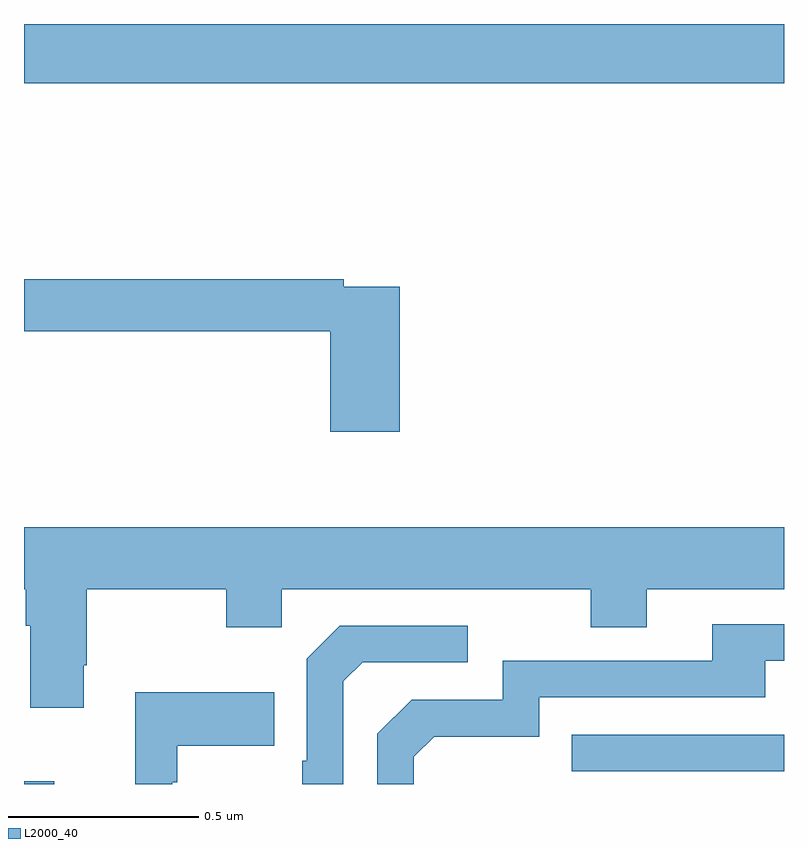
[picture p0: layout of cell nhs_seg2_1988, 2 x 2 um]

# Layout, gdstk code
import gdstk
lib = gdstk.Library(unit=1e-6, precision=1e-09)
def R(c, l, rs):  # rectangles x0, y0, x1, y1
    for r in rs: c.add(gdstk.rectangle(r[:2], r[2:], *l))
def P(c, l, *ps):  # polygons
    for p in ps: c.add(gdstk.Polygon(p, *l))
L2000_40 = (2000, 40)

nhs_seg2_1988 = lib.new_cell('nhs_seg2_1988')
R(nhs_seg2_1988, L2000_40, [(135,637.8,135.079,637.807), (136.441,637.833,137,637.929), (135,639.644,137,639.8)])
P(nhs_seg2_1988, L2000_40, [(135.989,639.108),(135.842,639.108),(135.842,639.128),(135,639.128),(135,638.992),(135.806,638.992),(135.806,638.727),(135.989,638.727)],
  [(135.157,638.113),(135.165,638.113),(135.165,638.312),(135.532,638.312),(135.532,638.213),(135.678,638.213),(135.678,638.312),(136.492,638.312),(136.492,638.213),(136.639,638.213),(136.639,638.312),(137,638.312),(137,638.476),(135,638.476),(135,638.312),(135.005,638.312),(135.005,638.216),(135.017,638.216),(135.017,638.001),(135.157,638.001)],
  [(136.026,637.872),(136.079,637.925),(136.356,637.925),(136.356,638.028),(136.951,638.028),(136.951,638.124),(137,638.124),(137,638.22),(136.811,638.22),(136.811,638.124),(136.26,638.124),(136.26,638.022),(136.02,638.022),(135.93,637.932),(135.93,637.8),(136.026,637.8)],
  [(135.84,638.07),(135.891,638.121),(136.168,638.121),(136.168,638.217),(135.831,638.217),(135.744,638.13),(135.744,637.861),(135.732,637.861),(135.732,637.8),(135.84,637.8)],
  [(135.39,637.805),(135.403,637.805),(135.403,637.901),(135.659,637.901),(135.659,638.041),(135.293,638.041),(135.293,637.8),(135.39,637.8)])

lib.write_gds('nhs_seg2_1988.gds')
